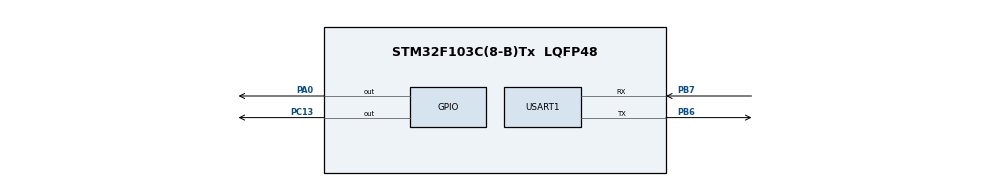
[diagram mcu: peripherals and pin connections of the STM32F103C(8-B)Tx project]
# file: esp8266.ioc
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Mcu.Family=STM32F1
Mcu.Name=STM32F103C(8-B)Tx
Mcu.Package=LQFP48
NVIC.PriorityGroup=NVIC_PRIORITYGROUP_4
PA0-WKUP.Signal=GPIO_Output
PA13.Mode=Serial_Wire
PA13.Signal=SYS_JTMS-SWDIO
PA14.Mode=Serial_Wire
PA14.Signal=SYS_JTCK-SWCLK
PB6.Mode=Asynchronous
PB6.Signal=USART1_TX
PB7.Mode=Asynchronous
PB7.Signal=USART1_RX
PC13-TAMPER-RTC.Signal=GPIO_Output
ProjectManager.HeapSize=0x200
ProjectManager.StackSize=0x400
ProjectManager.TargetToolchain=MDK-ARM V5.32
RCC.APB1Freq_Value=8000000
RCC.APB2Freq_Value=8000000
USART1.VirtualMode=VM_ASYNC
board=custom

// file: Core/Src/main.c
/* USER CODE BEGIN Header */
/**
  ******************************************************************************
  * @file           : main.c
  * @brief          : Main program body
  ******************************************************************************
  * @attention
  *
  * Copyright (c) 2024 STMicroelectronics.
  * All rights reserved.
  *
  * This software is licensed under terms that can be found in the LICENSE file
  * in the root directory of this software component.
  * If no LICENSE file comes with this software, it is provided AS-IS.
  *
  ******************************************************************************
  */
/* USER CODE END Header */
#include "main.h"
#include "string.h"
#include "stdio.h"

UART_HandleTypeDef huart1;

void SystemClock_Config(void);
static void MX_GPIO_Init(void);
static void MX_USART1_UART_Init(void);

uint8_t rxBuffer[512] = {0};
uint8_t ATisOK;
int channel;
int onoff;
int led = 1;
char ATcommand[64];
char ATcommandB[1024];
char ATcommandN[100];
char ATcommandF[100];
char ATcommandT[16];
int main(void)
{

  /* MCU Configuration--------------------------------------------------------*/

  /* Reset of all peripherals, Initializes the Flash interface and the Systick. */
  HAL_Init();

  /* Configure the system clock */
  SystemClock_Config();

  /* Initialize all configured peripherals */
  MX_GPIO_Init();
  MX_USART1_UART_Init();
  /* USER CODE BEGIN 2 */
	  sprintf(ATcommandB,"<!DOCTYPE html><html>\n<head>\n\
  <title>STM32 - ESP8266</title>\n<link href=\"data:image/x-icon;base64,\
  A\" rel=\"icon\" type=\"image/x-icon\"><style>\nhtml {\
  display: inline-block; margin: 0px auto; text-align: center;}\n\
  body{margin-top: 50px;}\n.button {display: block;\n\
  width: 70px;\nbackground-color: #008000;\nborder: none;\ncolor: white;\n\
  padding: 14px 28px;\ntext-decoration: none;\nfont-size: 24px;\n\
  margin: 0px auto 36px; \nborder-radius: 5px;}\n\
  .button-on {background-color: #008000;}\n.button-on:active\
  {background-color: #008000;}\n.button-off {background-color: #808080;}\n\
  .button-off:active {background-color: #808080;}\n\
  p {font-size: 14px;color: #808080;margin-bottom: 20px;}\n\
  </style></head>\n<body>\n<h1>STM32 - ESP8266</h1>");
  sprintf(ATcommandN,"<p>Light is currently on\
  </p><a class=\"button button-off\" href=\"/lightoff\">OFF</a>");
  sprintf(ATcommandF,"<p>Light is currently off\
  </p><a class=\"button button-on\" href=\"/lighton\">ON</a>");
  sprintf(ATcommandT,"</body></html>");
  int countB = strlen(ATcommandB);
  int countN = strlen(ATcommandN);
  int countF = strlen(ATcommandF);
  int countT = strlen(ATcommandT);
  /* USER CODE END 2 */
	sprintf(ATcommand,"AT+RST\r\n");
  memset(rxBuffer,0,sizeof(rxBuffer));
  HAL_UART_Transmit(&huart1,(uint8_t *)ATcommand,strlen(ATcommand),1000);
  HAL_UART_Receive (&huart1, rxBuffer, 512, 100);
  HAL_Delay(500);

	 ATisOK = 0;
  while(!ATisOK){
    sprintf(ATcommand,"AT+CWMODE_CUR=2\r\n");
      memset(rxBuffer,0,sizeof(rxBuffer));
      HAL_UART_Transmit(&huart1,(uint8_t *)ATcommand,strlen(ATcommand),1000);
      HAL_UART_Receive (&huart1, rxBuffer, 512, 1000);
    if(strstr((char *)rxBuffer,"OK")){
      ATisOK = 1;
    }
    HAL_Delay(500);
  }
	ATisOK = 0;
  while(!ATisOK){
    sprintf(ATcommand,"AT+CWSAP_CUR=\"STM32\",\"12345678\",1,3\r\n");
      memset(rxBuffer,0,sizeof(rxBuffer));
      HAL_UART_Transmit(&huart1,(uint8_t *)ATcommand,strlen(ATcommand),1000);
      HAL_UART_Receive (&huart1, rxBuffer, 512, 1000);
    if(strstr((char *)rxBuffer,"OK")){
      ATisOK = 1;
    }
    HAL_Delay(500);
  }

	ATisOK = 0;
  while(!ATisOK){
    sprintf(ATcommand,"AT+CIPAP_CUR=\"192.168.51.1\"\r\n");
    memset(rxBuffer,0,sizeof(rxBuffer));
    HAL_UART_Transmit(&huart1,(uint8_t *)ATcommand,strlen(ATcommand),1000);
    HAL_UART_Receive (&huart1, rxBuffer, 512, 1000);
    if(strstr((char *)rxBuffer,"OK")){
      ATisOK = 1;
    }
    HAL_Delay(500);
  }

	 ATisOK = 0;
  while(!ATisOK){
    sprintf(ATcommand,"AT+CIPMUX=1\r\n");
      memset(rxBuffer,0,sizeof(rxBuffer));
      HAL_UART_Transmit(&huart1,(uint8_t *)ATcommand,strlen(ATcommand),1000);
      HAL_UART_Receive (&huart1, rxBuffer, 512, 1000);
      if(strstr((char *)rxBuffer,"OK")){
        ATisOK = 1;
      }
      HAL_Delay(500);
  }
	  ATisOK = 0;
  while(!ATisOK){
    sprintf(ATcommand,"AT+CIPSERVER=1,80\r\n");
    memset(rxBuffer,0,sizeof(rxBuffer));
    HAL_UART_Transmit(&huart1,(uint8_t *)ATcommand,strlen(ATcommand),1000);
    HAL_UART_Receive (&huart1, rxBuffer, 512, 1000);
    if(strstr((char *)rxBuffer,"OK")){
        ATisOK = 1;
    }
    HAL_Delay(500);
  }

  /* Infinite loop */
  /* USER CODE BEGIN WHILE */
  while (1)
  {

		memset(rxBuffer,0,sizeof(rxBuffer));
    HAL_UART_Receive (&huart1, rxBuffer, 512, 1000);
    if(strstr((char *)rxBuffer,"+IPD,0")) channel = 0;
    else if(strstr((char *)rxBuffer,"+IPD,1")) channel = 1;
    else if(strstr((char *)rxBuffer,"+IPD,2")) channel = 2;
    else if(strstr((char *)rxBuffer,"+IPD,3")) channel = 3;
    else if(strstr((char *)rxBuffer,"+IPD,4")) channel = 4;
    else if(strstr((char *)rxBuffer,"+IPD,5")) channel = 5;
    else if(strstr((char *)rxBuffer,"+IPD,6")) channel = 6;
    else if(strstr((char *)rxBuffer,"+IPD,7")) channel = 7;
    else channel = 100;

    if(strstr((char *)rxBuffer,"GET /lighton")) onoff = 0;
    else if(strstr((char *)rxBuffer,"GET /lightoff")) onoff = 1;
    else onoff = led;

    if(channel<8 && onoff == 1)
    {
      HAL_GPIO_WritePin(GPIOC, GPIO_PIN_13, GPIO_PIN_SET);
      led = 1;
      sprintf(ATcommand,"AT+CIPSEND=%d,%d\r\n",channel,countB+countF+countT);
      memset(rxBuffer,0,sizeof(rxBuffer));
      HAL_UART_Transmit(&huart1,(uint8_t *)ATcommand,strlen(ATcommand),1000);
      HAL_UART_Receive (&huart1, rxBuffer, 512, 100);
      if(strstr((char *)rxBuffer,">"))
      {
        memset(rxBuffer,0,sizeof(rxBuffer));
          HAL_UART_Transmit(&huart1,(uint8_t *)ATcommandB,countB,1000);
          HAL_UART_Transmit(&huart1,(uint8_t *)ATcommandF,countF,1000);
          HAL_UART_Transmit(&huart1,(uint8_t *)ATcommandT,countT,1000);
         HAL_UART_Receive (&huart1, rxBuffer, 512, 100);
      }
      sprintf(ATcommand,"AT+CIPCLOSE=%d\r\n",channel);
      memset(rxBuffer,0,sizeof(rxBuffer));
      HAL_UART_Transmit(&huart1,(uint8_t *)ATcommand,strlen(ATcommand),1000);
      HAL_UART_Receive (&huart1, rxBuffer, 512, 100);
      channel=100;
    }
    else if(channel<8 && onoff == 0)
    {
      HAL_GPIO_WritePin(GPIOC, GPIO_PIN_13, GPIO_PIN_RESET);
      led = 0;
      sprintf(ATcommand,"AT+CIPSEND=%d,%d\r\n",channel,countB+countN+countT);
      memset(rxBuffer,0,sizeof(rxBuffer));
      HAL_UART_Transmit(&huart1,(uint8_t *)ATcommand,strlen(ATcommand),1000);
      HAL_UART_Receive (&huart1, rxBuffer, 512, 100);
      if(strstr((char *)rxBuffer,">"))
      {
        memset(rxBuffer,0,sizeof(rxBuffer));
          HAL_UART_Transmit(&huart1,(uint8_t *)ATcommandB,countB,1000);
          HAL_UART_Transmit(&huart1,(uint8_t *)ATcommandN,countN,1000);
          HAL_UART_Transmit(&huart1,(uint8_t *)ATcommandT,countT,1000);
          HAL_UART_Receive (&huart1, rxBuffer, 512, 100);
      }
      sprintf(ATcommand,"AT+CIPCLOSE=%d\r\n",channel);
      memset(rxBuffer,0,sizeof(rxBuffer));
      HAL_UART_Transmit(&huart1,(uint8_t *)ATcommand,strlen(ATcommand),1000);
      HAL_UART_Receive (&huart1, rxBuffer, 512, 100);
      channel=100;
    }
  }
  /* USER CODE END 3 */
}

void SystemClock_Config(void)
{
  RCC_OscInitTypeDef RCC_OscInitStruct = {0};
  RCC_ClkInitTypeDef RCC_ClkInitStruct = {0};

  /** Initializes the RCC Oscillators according to the specified parameters
  * in the RCC_OscInitTypeDef structure.
  */
  RCC_OscInitStruct.OscillatorType = RCC_OSCILLATORTYPE_HSI;
  RCC_OscInitStruct.HSIState = RCC_HSI_ON;
  RCC_OscInitStruct.HSICalibrationValue = RCC_HSICALIBRATION_DEFAULT;
  RCC_OscInitStruct.PLL.PLLState = RCC_PLL_NONE;
  if (HAL_RCC_OscConfig(&RCC_OscInitStruct) != HAL_OK)
  {
    Error_Handler();
  }

  /** Initializes the CPU, AHB and APB buses clocks
  */
  RCC_ClkInitStruct.ClockType = RCC_CLOCKTYPE_HCLK|RCC_CLOCKTYPE_SYSCLK
                              |RCC_CLOCKTYPE_PCLK1|RCC_CLOCKTYPE_PCLK2;
  RCC_ClkInitStruct.SYSCLKSource = RCC_SYSCLKSOURCE_HSI;
  RCC_ClkInitStruct.AHBCLKDivider = RCC_SYSCLK_DIV1;
  RCC_ClkInitStruct.APB1CLKDivider = RCC_HCLK_DIV1;
  RCC_ClkInitStruct.APB2CLKDivider = RCC_HCLK_DIV1;

  if (HAL_RCC_ClockConfig(&RCC_ClkInitStruct, FLASH_LATENCY_0) != HAL_OK)
  {
    Error_Handler();
  }
}

static void MX_USART1_UART_Init(void)
{

  huart1.Instance = USART1;
  huart1.Init.BaudRate = 115200;
  huart1.Init.WordLength = UART_WORDLENGTH_8B;
  huart1.Init.StopBits = UART_STOPBITS_1;
  huart1.Init.Parity = UART_PARITY_NONE;
  huart1.Init.Mode = UART_MODE_TX_RX;
  huart1.Init.HwFlowCtl = UART_HWCONTROL_NONE;
  huart1.Init.OverSampling = UART_OVERSAMPLING_16;
  if (HAL_UART_Init(&huart1) != HAL_OK)
  {
    Error_Handler();
  }

}

static void MX_GPIO_Init(void)
{
  GPIO_InitTypeDef GPIO_InitStruct = {0};

  /* GPIO Ports Clock Enable */
  __HAL_RCC_GPIOC_CLK_ENABLE();
  __HAL_RCC_GPIOA_CLK_ENABLE();
  __HAL_RCC_GPIOB_CLK_ENABLE();

  /*Configure GPIO pin Output Level */
  HAL_GPIO_WritePin(GPIOC, GPIO_PIN_13, GPIO_PIN_RESET);

  /*Configure GPIO pin Output Level */
  HAL_GPIO_WritePin(GPIOA, GPIO_PIN_0, GPIO_PIN_RESET);

  /*Configure GPIO pin : PC13 */
  GPIO_InitStruct.Pin = GPIO_PIN_13;
  GPIO_InitStruct.Mode = GPIO_MODE_OUTPUT_PP;
  GPIO_InitStruct.Pull = GPIO_NOPULL;
  GPIO_InitStruct.Speed = GPIO_SPEED_FREQ_LOW;
  HAL_GPIO_Init(GPIOC, &GPIO_InitStruct);

  /*Configure GPIO pin : PA0 */
  GPIO_InitStruct.Pin = GPIO_PIN_0;
  GPIO_InitStruct.Mode = GPIO_MODE_OUTPUT_PP;
  GPIO_InitStruct.Pull = GPIO_NOPULL;
  GPIO_InitStruct.Speed = GPIO_SPEED_FREQ_LOW;
  HAL_GPIO_Init(GPIOA, &GPIO_InitStruct);

}

void Error_Handler(void)
{
  __disable_irq();
  while (1)
  {
  }
}
